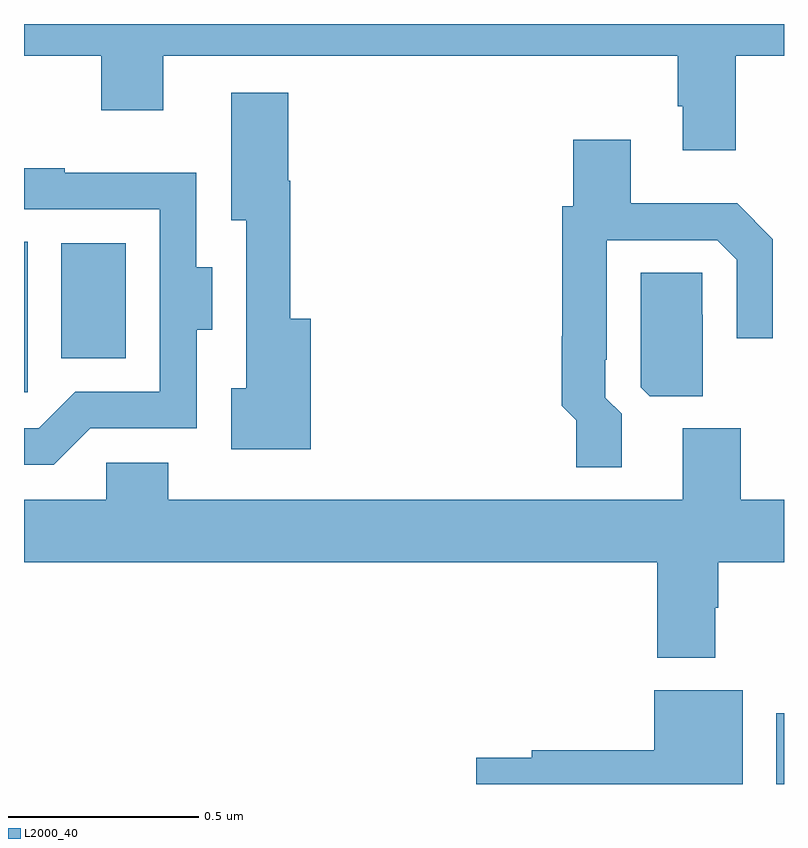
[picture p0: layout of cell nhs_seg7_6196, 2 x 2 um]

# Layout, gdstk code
import gdstk
lib = gdstk.Library(unit=1e-6, precision=1e-09)
def R(c, l, rs):  # rectangles x0, y0, x1, y1
    for r in rs: c.add(gdstk.rectangle(r[:2], r[2:], *l))
def P(c, l, *ps):  # polygons
    for p in ps: c.add(gdstk.Polygon(p, *l))
L2000_40 = (2000, 40)

nhs_seg7_6196 = lib.new_cell('nhs_seg7_6196')
R(nhs_seg7_6196, L2000_40, [(196.979,1032,197,1032.186), (195,1033.031,195.01,1033.427), (195.098,1033.121,195.268,1033.423)])
P(nhs_seg7_6196, L2000_40, [(196.873,1033.916),(197,1033.916),(197,1034),(195,1034),(195,1033.916),(195.203,1033.916),(195.203,1033.773),(195.367,1033.773),(195.367,1033.916),(196.721,1033.916),(196.721,1033.783),(196.733,1033.783),(196.733,1033.668),(196.873,1033.668)],
  [(195.755,1033.225),(195.701,1033.225),(195.701,1033.588),(195.695,1033.588),(195.695,1033.819),(195.545,1033.819),(195.545,1033.484),(195.585,1033.484),(195.585,1033.041),(195.545,1033.041),(195.545,1032.881),(195.755,1032.881)],
  [(196.573,1032.974),(196.53,1033.017),(196.53,1033.117),(196.533,1033.117),(196.533,1033.431),(196.824,1033.431),(196.875,1033.38),(196.875,1033.173),(196.971,1033.173),(196.971,1033.434),(196.877,1033.528),(196.597,1033.528),(196.597,1033.696),(196.445,1033.696),(196.445,1033.521),(196.417,1033.521),(196.417,1033.178),(196.415,1033.178),(196.415,1032.996),(196.453,1032.957),(196.453,1032.834),(196.573,1032.834)],
  [(195.174,1032.936),(195.454,1032.936),(195.454,1033.196),(195.496,1033.196),(195.496,1033.36),(195.453,1033.36),(195.453,1033.609),(195.107,1033.609),(195.107,1033.621),(195,1033.621),(195,1033.512),(195.357,1033.512),(195.357,1033.032),(195.135,1033.032),(195.039,1032.936),(195,1032.936),(195,1032.84),(195.078,1032.84)],
  [(196.786,1033.235),(196.785,1033.235),(196.785,1033.346),(196.623,1033.346),(196.623,1033.044),(196.647,1033.021),(196.786,1033.021)],
  [(196.819,1032.464),(196.827,1032.464),(196.827,1032.584),(197,1032.584),(197,1032.748),(196.886,1032.748),(196.886,1032.936),(196.733,1032.936),(196.733,1032.748),(195.38,1032.748),(195.38,1032.846),(195.216,1032.846),(195.216,1032.748),(195,1032.748),(195,1032.584),(196.667,1032.584),(196.667,1032.332),(196.819,1032.332)],
  [(196.891,1032.247),(196.658,1032.247),(196.658,1032.089),(196.336,1032.089),(196.336,1032.069),(196.19,1032.069),(196.19,1032),(196.891,1032)])

lib.write_gds('nhs_seg7_6196.gds')
